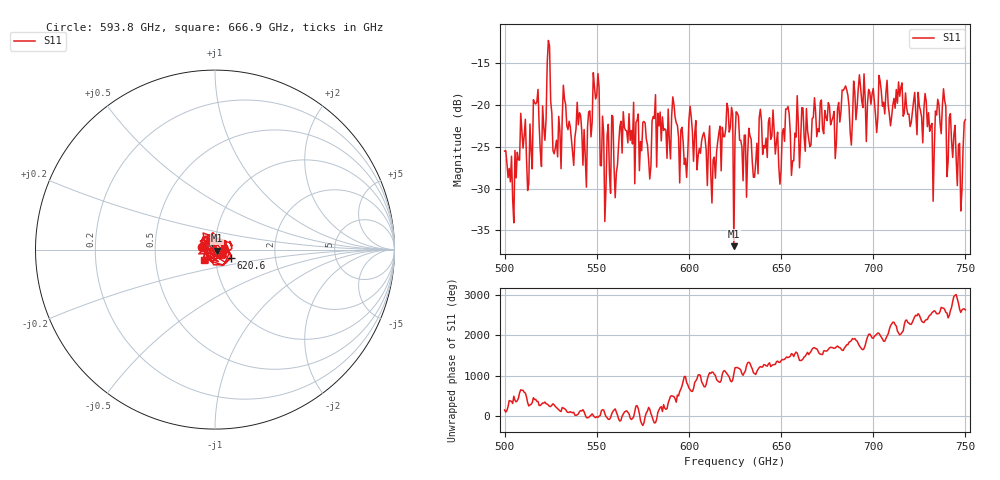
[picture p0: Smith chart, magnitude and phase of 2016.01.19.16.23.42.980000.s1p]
!Created with skrf (http://scikit-rf.org).
# GHz S RI R 50.0
!freq ReS11 ImS11
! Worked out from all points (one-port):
!   401 points, 500 GHz to 750 GHz, reference 50 ohm
!   lowest |S11| = -36.9 dB at 624.4 GHz (marker M1), VSWR 1.03, Z = 51.3 - j0.681 ohm
!   |S11| at or under -10 dB: start of sweep to end of sweep
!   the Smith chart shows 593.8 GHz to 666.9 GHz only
!   S11 on the Smith chart (normalised r, x): 593.8 GHz: 0.86, +0.03; 620.6 GHz: 1.19, -0.11; 666.9 GHz: 0.88, -0.10
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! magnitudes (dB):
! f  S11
! 500 GHz  -25.5
! 513.8 GHz  -22.3
! 516.9 GHz  -19.9
! 520.6 GHz  -20.1
! 524.4 GHz  -12.9
! 527.5 GHz  -25.2
! 531.2 GHz  -21.7
! 543.8 GHz  -26.2
! 549.4 GHz  -19.3
! 553.8 GHz  -23.4
! 562.5 GHz  -22.6
! 593.8 GHz  -22.4
! 613.1 GHz  -26.6
! 620.6 GHz  -19.8
! 624.4 GHz  -36.9
! 625 GHz  -24.0
! 644.4 GHz  -24.1
! 648.8 GHz  -27.3
! 653.8 GHz  -20.2
! 656.2 GHz  -26.7
! 666.9 GHz  -21.6
! 684.4 GHz  -18.0
! 687.5 GHz  -23.3
! 718.8 GHz  -21.1
! 731.9 GHz  -22.2
! 738.1 GHz  -18.1
! 746.9 GHz  -24.6
! 750 GHz  -21.7
